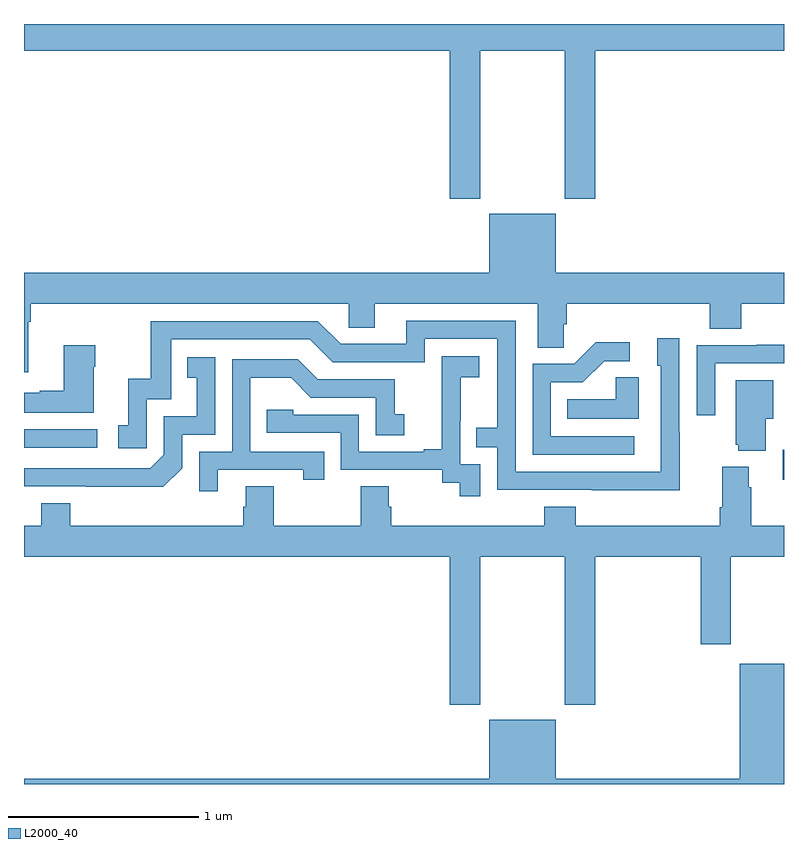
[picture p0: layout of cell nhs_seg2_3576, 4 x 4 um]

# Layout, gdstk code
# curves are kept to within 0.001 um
import gdstk
lib = gdstk.Library(unit=1e-6, precision=1e-09)
def R(c, l, rs):  # rectangles x0, y0, x1, y1
    for r in rs: c.add(gdstk.rectangle(r[:2], r[2:], *l))
def P(c, l, *ps):  # polygons
    for p in ps: c.add(gdstk.Polygon(p, *l))
L2000_40 = (2000, 40)

nhs_seg2_3576 = lib.new_cell('nhs_seg2_3576')
R(nhs_seg2_3576, L2000_40, [(302.993,621.402,303,621.558), (299,621.57,299.386,621.666)])
P(nhs_seg2_3576, L2000_40, [(299,623.66),(301.241,623.66),(301.241,622.881),(301.401,622.881),(301.401,623.66),(301.846,623.66),(301.846,622.881),(302.006,622.881),(302.006,623.66),(303,623.66),(303,623.8),(299,623.8)],
  [(299.023,622.232),(299.036,622.232),(299.036,622.328),(300.708,622.328),(300.708,622.201),(300.847,622.201),(300.847,622.328),(301.703,622.328),(301.703,622.096),(301.842,622.096),(301.842,622.219),(301.856,622.219),(301.856,622.328),(302.609,622.328),(302.609,622.195),(302.774,622.195),(302.774,622.328),(303,622.328),(303,622.492),(301.798,622.492),(301.798,622.801),(301.448,622.801),(301.448,622.492),(299,622.492),(299,621.966),(299.023,621.966)],
  [(302.451,621.653),(302.448,621.653),(302.448,622.147),(302.333,622.147),(302.333,622.002),(302.352,622.002),(302.352,621.444),(301.587,621.444),(301.587,622.239),(301.013,622.239),(301.013,622.116),(300.666,622.116),(300.546,622.236),(299.667,622.236),(299.667,621.934),(299.549,621.934),(299.549,621.687),(299.496,621.687),(299.496,621.567),(299.646,621.567),(299.646,621.825),(299.775,621.825),(299.775,622.14),(300.504,622.14),(300.624,622.02),(301.11,622.02),(301.11,622.143),(301.491,622.143),(301.491,621.674),(301.381,621.674),(301.381,621.573),(301.491,621.573),(301.491,621.348),(302.451,621.347)],
  [(302.212,621.63),(301.773,621.63),(301.773,621.915),(301.942,621.915),(302.053,622.026),(302.188,622.026),(302.188,622.124),(302.009,622.124),(301.896,622.011),(301.677,622.011),(301.677,621.534),(302.212,621.534)],
  [(302.637,622.014),(303,622.014),(303,622.112),(302.857,622.112),(302.857,622.11),(302.541,622.11),(302.541,621.741),(302.637,621.741)],
  [(299.368,621.995),(299.376,621.995),(299.376,622.108),(299.21,622.108),(299.21,621.869),(299.084,621.869),(299.084,621.859),(299,621.859),(299,621.755),(299.368,621.755)],
  [(301.401,621.483),(301.296,621.483),(301.296,621.713),(301.298,621.713),(301.298,621.941),(301.396,621.941),(301.396,622.051),(301.198,622.051),(301.198,621.845),(301.199,621.845),(301.199,621.562),(301.103,621.562),(301.103,621.549),(300.762,621.549),(300.762,621.744),(300.417,621.744),(300.417,621.771),(300.277,621.771),(300.277,621.648),(300.666,621.648),(300.666,621.453),(301.2,621.453),(301.2,621.385),(301.293,621.385),(301.293,621.315),(301.401,621.315)],
  [(299.832,621.462),(299.832,621.639),(300.006,621.639),(300.006,622.045),(299.86,622.045),(299.86,621.939),(299.909,621.939),(299.909,621.735),(299.736,621.735),(299.736,621.534),(299.664,621.462),(299,621.462),(299,621.366),(299.734,621.365)],
  [(300.019,621.453),(300.47,621.453),(300.47,621.402),(300.581,621.402),(300.581,621.549),(300.192,621.549),(300.192,621.938),(300.406,621.938),(300.51,621.834),(300.852,621.834),(300.852,621.636),(301,621.636),(301,621.745),(300.951,621.745),(300.951,621.93),(300.547,621.93),(300.442,622.035),(300.096,622.035),(300.096,621.549),(299.922,621.549),(299.922,621.342),(300.019,621.342)],
  [(302.236,621.941),(302.115,621.941),(302.115,621.826),(301.858,621.826),(301.858,621.722),(302.236,621.722)],
  [(302.905,621.722),(302.944,621.722),(302.944,621.925),(302.747,621.925),(302.747,621.585),(302.759,621.585),(302.759,621.554),(302.905,621.554)],
  [(301.904,621.259),(301.739,621.259),(301.739,621.16),(300.932,621.16),(300.932,621.258),(300.919,621.258),(300.919,621.368),(300.772,621.368),(300.772,621.16),(300.315,621.16),(300.315,621.368),(300.167,621.368),(300.167,621.258),(300.155,621.258),(300.155,621.16),(299.243,621.16),(299.243,621.277),(299.09,621.277),(299.09,621.16),(299,621.16),(299,620.996),(301.241,620.996),(301.241,620.217),(301.401,620.217),(301.401,620.996),(301.846,620.996),(301.846,620.217),(302.006,620.217),(302.006,620.996),(302.561,620.996),(302.561,620.535),(302.721,620.535),(302.721,620.996),(303,620.996),(303,621.16),(302.828,621.16),(302.828,621.362),(302.815,621.362),(302.815,621.469),(302.675,621.469),(302.675,621.256),(302.663,621.256),(302.663,621.16),(301.904,621.16)],
  [(303,620.434),(302.768,620.434),(302.768,619.828),(301.798,619.828),(301.798,620.137),(301.448,620.137),(301.448,619.828),(299,619.828),(299,619.8),(303,619.8)])

lib.write_gds('nhs_seg2_3576.gds')
